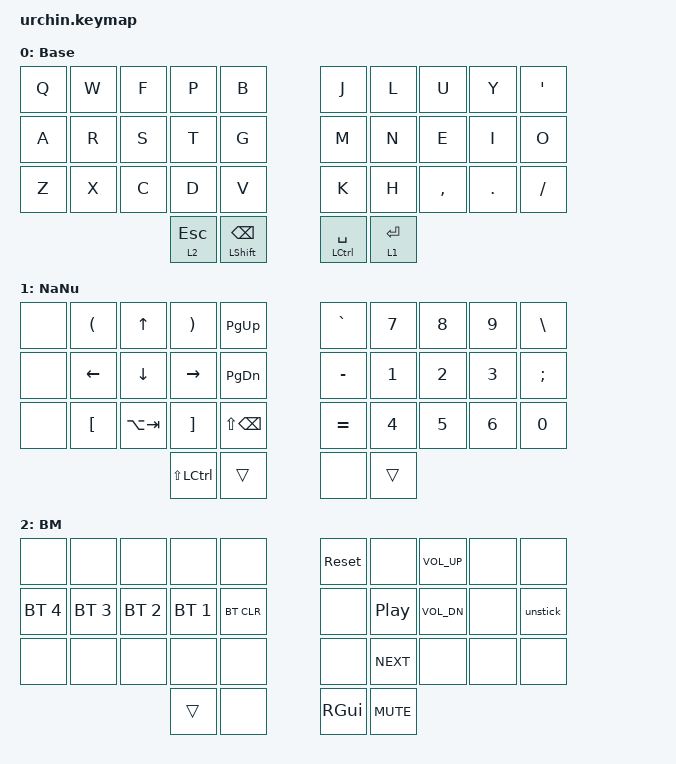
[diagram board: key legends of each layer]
/*
 * Copyright (c) 2020 duckyb
 *
 * SPDX-License-Identifier: MIT
 */

#include <behaviors.dtsi>
#include <dt-bindings/zmk/keys.h>
#include <dt-bindings/zmk/bt.h>

// Layer definitions

#define BASE 0
#define NaNu 1
#define BM 2

// -----------------

&sk {
    // don't release mods on other mods presses

    ignore-modifiers;
};

/ {
    behaviors {
        // Enables holding the first mod-tap key
        // by performing a tap-release-hold sequence.
        // To use it: "&qt KEYCODE1 KEYCODE2"

        qt: quick_tap {
            compatible = "zmk,behavior-hold-tap";
            label = "QUICK_TAP";
            #binding-cells = <2>;
            flavor = "tap-preferred";
            tapping-term-ms = <200>;
            quick-tap-ms = <200>;
            bindings =
                <&kp>,
                <&kp>;
        };
    };

    macros {
        // sometimes my device thinks a modifier is being held down
        // pressing all modifiers fixes it.

        unstick: unstick {
            label = "ZM_unstick";
            compatible = "zmk,behavior-macro";
            #binding-cells = <0>;
            bindings = <&kp LSHIFT &kp RSHIFT &kp LCTRL &kp RCTRL &kp LALT &kp RALT &kp LGUI &kp RGUI>;
        };
    };

    keymap {
        compatible = "zmk,keymap";

        // Base alpha layer

        default_layer {
            label = "Base";
            bindings = <
&kp Q    &kp W    &kp F           &kp P                   &kp B              &kp J          &kp L        &kp U      &kp Y      &kp SQT
&kp A    &kp R    &kp S           &kp T                   &kp G              &kp M          &kp N        &kp E      &kp I        &kp O
&kp Z    &kp X    &kp C           &kp D                   &kp V              &kp K          &kp H    &kp COMMA    &kp DOT    &kp SLASH
                           &lt 2 ESCAPE    &qt LSHIFT BACKSPACE    &qt LCTRL SPACE    &lt 1 ENTER
            >;
        };


        NavNums {
            bindings = <
&none    &kp LEFT_PARENTHESIS      &kp UP_ARROW    &kp RIGHT_PARENTHESIS          &kp PAGE_UP    &kp GRAVE    &kp NUMBER_7    &kp NUMBER_8    &kp NUMBER_9    &kp BACKSLASH
&none          &kp LEFT_ARROW    &kp DOWN_ARROW                &kp RIGHT        &kp PAGE_DOWN    &kp MINUS    &kp NUMBER_1    &kp NUMBER_2    &kp NUMBER_3    &kp SEMICOLON
&none        &kp LEFT_BRACKET       &kp LA(TAB)        &kp RIGHT_BRACKET    &kp LS(BACKSPACE)    &kp EQUAL    &kp NUMBER_4    &kp NUMBER_5    &kp NUMBER_6     &kp NUMBER_0
                                                           &kp LS(LCTRL)               &trans        &none          &trans
            >;

            label = "NaNu";
        };

        BT_Media {
            bindings = <
       &none           &none           &none           &none         &none       &sys_reset               &none    &kp C_VOLUME_UP    &none       &none
&bt BT_SEL 4    &bt BT_SEL 3    &bt BT_SEL 2    &bt BT_SEL 1    &bt BT_CLR            &none    &kp C_PLAY_PAUSE       &kp C_VOL_DN    &none    &unstick
       &none           &none           &none           &none         &none            &none          &kp C_NEXT              &none    &none       &none
                                                      &trans         &none    &kp RIGHT_GUI          &kp K_MUTE
            >;

            label = "BM";
        };
    };
};
